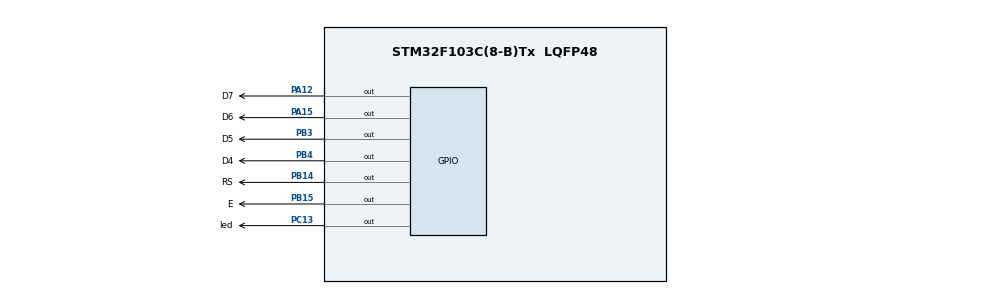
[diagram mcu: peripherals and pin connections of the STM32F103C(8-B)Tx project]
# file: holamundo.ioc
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Mcu.Family=STM32F1
Mcu.Name=STM32F103C(8-B)Tx
Mcu.Package=LQFP48
NVIC.PriorityGroup=NVIC_PRIORITYGROUP_4
PA12.GPIO_Label=D7
PA12.Signal=GPIO_Output
PA13.Mode=Serial_Wire
PA13.Signal=SYS_JTMS-SWDIO
PA14.Mode=Serial_Wire
PA14.Signal=SYS_JTCK-SWCLK
PA15.GPIO_Label=D6
PA15.Signal=GPIO_Output
PB14.GPIO_Label=RS
PB14.Signal=GPIO_Output
PB15.GPIO_Label=E
PB15.Signal=GPIO_Output
PB3.GPIO_Label=D5
PB3.Signal=GPIO_Output
PB4.GPIO_Label=D4
PB4.Signal=GPIO_Output
PC13-TAMPER-RTC.GPIO_Label=led
PC13-TAMPER-RTC.Signal=GPIO_Output
ProjectManager.HeapSize=0x200
ProjectManager.StackSize=0x400
ProjectManager.TargetToolchain=STM32CubeIDE
RCC.APB1Freq_Value=8000000
RCC.APB2Freq_Value=8000000
board=custom

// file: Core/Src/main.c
/* USER CODE BEGIN Header */
/**
  ******************************************************************************
  * @file           : main.c
  * @brief          : Main program body
  ******************************************************************************
  * @attention
  *
  * Copyright (c) 2022 STMicroelectronics.
  * All rights reserved.
  *
  * This software is licensed under terms that can be found in the LICENSE file
  * in the root directory of this software component.
  * If no LICENSE file comes with this software, it is provided AS-IS.
  *
  ******************************************************************************
  */
/* USER CODE END Header */
#include "main.h"

/* USER CODE BEGIN Includes */
#include "LCD.h"
/* USER CODE END Includes */

void SystemClock_Config(void);
static void MX_GPIO_Init(void);

/* USER CODE BEGIN 0 */
uint8_t i;
char str_i[4];
/* USER CODE END 0 */

int main(void)
{

  /* MCU Configuration--------------------------------------------------------*/

  /* Reset of all peripherals, Initializes the Flash interface and the Systick. */
  HAL_Init();

  /* Configure the system clock */
  SystemClock_Config();

  /* Initialize all configured peripherals */
  MX_GPIO_Init();
  /* USER CODE BEGIN 2 */
  LCD_STM32_Init();
  LCD_STM32_New_Char(1,0x0A,0x1F,0x1F,0x1F,0x0E,0x04,0x00,0x00);
  LCD_STM32_SetCursor(0, FILA1);
  LCD_STM32_Print_String(" Curso Cas UNI");
  LCD_STM32_SetCursor(0, FILA2);
  LCD_STM32_Print_String("Curso Stm32");
  LCD_STM32_Write_New_Char(1);
  /* USER CODE END 2 */

  /* Infinite loop */
  /* USER CODE BEGIN WHILE */
  while (1)
  {
	  for (i = 0; i < 99; i++) {

		  sprintf(str_i,"%02u",i);
		  LCD_STM32_SetCursor(14, FILA2);
		   LCD_STM32_Print_String(str_i);
		  HAL_GPIO_TogglePin(GPIOC, GPIO_PIN_13);
		  HAL_Delay(x00);
	}

    /* USER CODE END WHILE */

  }
}

void SystemClock_Config(void)
{
  RCC_OscInitTypeDef RCC_OscInitStruct = {0};
  RCC_ClkInitTypeDef RCC_ClkInitStruct = {0};

  /** Initializes the RCC Oscillators according to the specified parameters
  * in the RCC_OscInitTypeDef structure.
  */
  RCC_OscInitStruct.OscillatorType = RCC_OSCILLATORTYPE_HSI;
  RCC_OscInitStruct.HSIState = RCC_HSI_ON;
  RCC_OscInitStruct.HSICalibrationValue = RCC_HSICALIBRATION_DEFAULT;
  RCC_OscInitStruct.PLL.PLLState = RCC_PLL_NONE;
  if (HAL_RCC_OscConfig(&RCC_OscInitStruct) != HAL_OK)
  {
    Error_Handler();
  }

  /** Initializes the CPU, AHB and APB buses clocks
  */
  RCC_ClkInitStruct.ClockType = RCC_CLOCKTYPE_HCLK|RCC_CLOCKTYPE_SYSCLK
                              |RCC_CLOCKTYPE_PCLK1|RCC_CLOCKTYPE_PCLK2;
  RCC_ClkInitStruct.SYSCLKSource = RCC_SYSCLKSOURCE_HSI;
  RCC_ClkInitStruct.AHBCLKDivider = RCC_SYSCLK_DIV1;
  RCC_ClkInitStruct.APB1CLKDivider = RCC_HCLK_DIV1;
  RCC_ClkInitStruct.APB2CLKDivider = RCC_HCLK_DIV1;

  if (HAL_RCC_ClockConfig(&RCC_ClkInitStruct, FLASH_LATENCY_0) != HAL_OK)
  {
    Error_Handler();
  }
}

static void MX_GPIO_Init(void)
{
  GPIO_InitTypeDef GPIO_InitStruct = {0};

  /* GPIO Ports Clock Enable */
  __HAL_RCC_GPIOC_CLK_ENABLE();
  __HAL_RCC_GPIOB_CLK_ENABLE();
  __HAL_RCC_GPIOA_CLK_ENABLE();

  /*Configure GPIO pin Output Level */
  HAL_GPIO_WritePin(led_GPIO_Port, led_Pin, GPIO_PIN_RESET);

  /*Configure GPIO pin Output Level */
  HAL_GPIO_WritePin(GPIOB, RS_Pin|E_Pin|D5_Pin|D4_Pin, GPIO_PIN_RESET);

  /*Configure GPIO pin Output Level */
  HAL_GPIO_WritePin(GPIOA, D7_Pin|D6_Pin, GPIO_PIN_RESET);

  /*Configure GPIO pin : led_Pin */
  GPIO_InitStruct.Pin = led_Pin;
  GPIO_InitStruct.Mode = GPIO_MODE_OUTPUT_PP;
  GPIO_InitStruct.Pull = GPIO_NOPULL;
  GPIO_InitStruct.Speed = GPIO_SPEED_FREQ_LOW;
  HAL_GPIO_Init(led_GPIO_Port, &GPIO_InitStruct);

  /*Configure GPIO pins : RS_Pin E_Pin D5_Pin D4_Pin */
  GPIO_InitStruct.Pin = RS_Pin|E_Pin|D5_Pin|D4_Pin;
  GPIO_InitStruct.Mode = GPIO_MODE_OUTPUT_PP;
  GPIO_InitStruct.Pull = GPIO_NOPULL;
  GPIO_InitStruct.Speed = GPIO_SPEED_FREQ_LOW;
  HAL_GPIO_Init(GPIOB, &GPIO_InitStruct);

  /*Configure GPIO pins : D7_Pin D6_Pin */
  GPIO_InitStruct.Pin = D7_Pin|D6_Pin;
  GPIO_InitStruct.Mode = GPIO_MODE_OUTPUT_PP;
  GPIO_InitStruct.Pull = GPIO_NOPULL;
  GPIO_InitStruct.Speed = GPIO_SPEED_FREQ_LOW;
  HAL_GPIO_Init(GPIOA, &GPIO_InitStruct);

}

void Error_Handler(void)
{
  __disable_irq();
  while (1)
  {
  }
}
